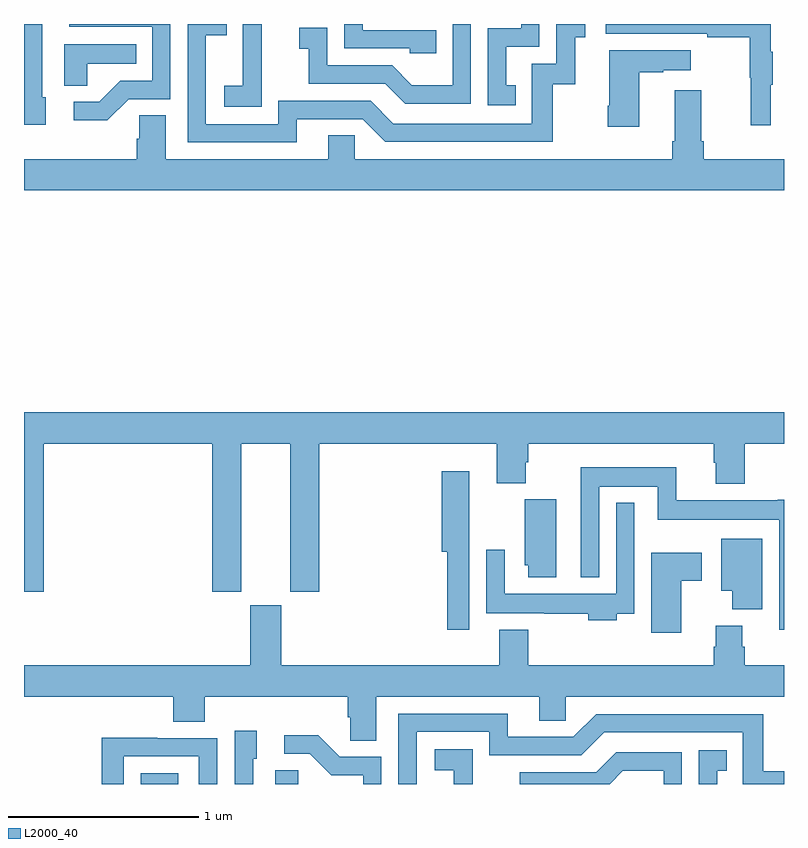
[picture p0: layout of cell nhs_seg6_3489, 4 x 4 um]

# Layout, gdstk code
import gdstk
lib = gdstk.Library(unit=1e-6, precision=1e-09)
def R(c, l, rs):  # rectangles x0, y0, x1, y1
    for r in rs: c.add(gdstk.rectangle(r[:2], r[2:], *l))
def P(c, l, *ps):  # polygons
    for p in ps: c.add(gdstk.Polygon(p, *l))
L2000_40 = (2000, 40)

nhs_seg6_3489 = lib.new_cell('nhs_seg6_3489')
R(nhs_seg6_3489, L2000_40, [(315.614,989.5,315.811,989.557), (316.322,989.5,316.443,989.573)])
P(nhs_seg6_3489, L2000_40, [(315.552,993.105),(315.771,993.105),(315.771,993.5),(315.237,993.5),(315.237,993.486),(315.675,993.486),(315.675,993.201),(315.506,993.201),(315.395,993.09),(315.261,993.09),(315.261,992.993),(315.439,992.993)],
  [(316.251,993.271),(316.25,993.271),(316.25,993.5),(316.152,993.5),(316.152,993.404),(316.151,993.404),(316.151,993.175),(316.053,993.175),(316.053,993.065),(316.251,993.065)],
  [(318.929,993.179),(318.94,993.179),(318.94,993.353),(318.929,993.353),(318.929,993.5),(318.063,993.5),(318.063,993.45),(318.595,993.45),(318.595,993.43),(318.819,993.43),(318.819,993.216),(318.826,993.216),(318.826,992.967),(318.929,992.967)],
  [(317.171,993.468),(316.782,993.468),(316.782,993.5),(316.686,993.5),(316.686,993.372),(317.031,993.372),(317.031,993.345),(317.171,993.345)],
  [(317.352,993.5),(317.256,993.5),(317.256,993.178),(317.042,993.178),(316.938,993.282),(316.596,993.282),(316.596,993.481),(316.449,993.481),(316.449,993.371),(316.498,993.371),(316.498,993.186),(316.901,993.186),(317.006,993.081),(317.352,993.081)],
  [(317.588,993.177),(317.539,993.177),(317.539,993.381),(317.712,993.381),(317.712,993.5),(317.616,993.5),(317.616,993.477),(317.442,993.477),(317.442,993.072),(317.588,993.072)],
  [(315.115,993.114),(315.096,993.114),(315.096,993.5),(315,993.5),(315,992.97),(315.115,992.97)],
  [(316.435,993),(316.782,993),(316.902,992.88),(317.782,992.88),(317.782,993.183),(317.9,993.183),(317.9,993.429),(317.953,993.429),(317.953,993.5),(317.802,993.5),(317.802,993.291),(317.673,993.291),(317.673,992.976),(316.944,992.976),(316.824,993.096),(316.338,993.096),(316.338,992.973),(315.957,992.973),(315.957,993.442),(316.067,993.442),(316.067,993.5),(315.861,993.5),(315.861,992.877),(316.435,992.877)],
  [(315.333,993.29),(315.59,993.29),(315.59,993.394),(315.212,993.394),(315.212,993.175),(315.333,993.175)],
  [(318.238,993.247),(318.365,993.247),(318.365,993.257),(318.508,993.257),(318.508,993.361),(318.08,993.361),(318.08,993.07),(318.073,993.07),(318.073,992.958),(318.238,992.958)],
  [(319,992.788),(318.578,992.788),(318.578,992.884),(318.565,992.884),(318.565,993.151),(318.425,993.151),(318.425,992.884),(318.413,992.884),(318.413,992.788),(316.74,992.788),(316.74,992.915),(316.601,992.915),(316.601,992.788),(315.745,992.788),(315.745,993.02),(315.606,993.02),(315.606,992.897),(315.593,992.897),(315.593,992.788),(315,992.788),(315,992.624),(319,992.624)],
  [(315.104,991.292),(315.992,991.292),(315.992,990.513),(316.144,990.513),(316.144,991.292),(316.4,991.292),(316.4,990.513),(316.553,990.513),(316.553,991.292),(317.489,991.292),(317.489,991.084),(317.641,991.084),(317.641,991.193),(317.654,991.193),(317.654,991.292),(318.629,991.292),(318.629,991.191),(318.641,991.191),(318.641,991.079),(318.794,991.079),(318.794,991.292),(319,991.292),(319,991.456),(315,991.456),(315,990.513),(315.104,990.513)],
  [(319,990.997),(318.968,990.997),(318.968,990.994),(318.434,990.994),(318.434,991.168),(317.93,991.168),(317.93,990.587),(318.027,990.587),(318.027,991.064),(318.336,991.064),(318.336,990.89),(318.975,990.89),(318.975,990.312),(319,990.312)],
  [(317.343,990.826),(317.344,990.826),(317.344,991.147),(317.198,991.147),(317.198,990.722),(317.227,990.722),(317.227,990.312),(317.343,990.312)],
  [(317.8,990.999),(317.636,990.999),(317.636,990.651),(317.654,990.651),(317.654,990.588),(317.8,990.588)],
  [(318.121,990.396),(318.213,990.396),(318.213,990.979),(318.117,990.979),(318.117,990.502),(317.529,990.502),(317.529,990.733),(317.433,990.733),(317.433,990.398),(317.737,990.398),(317.737,990.396),(317.969,990.396),(317.969,990.362),(318.121,990.362)],
  [(318.886,990.79),(318.671,990.79),(318.671,990.518),(318.728,990.518),(318.728,990.419),(318.886,990.419)],
  [(318.46,990.571),(318.568,990.571),(318.568,990.718),(318.302,990.718),(318.302,990.296),(318.46,990.296)],
  [(315,989.96),(315.785,989.96),(315.785,989.827),(315.95,989.827),(315.95,989.96),(316.703,989.96),(316.703,989.851),(316.716,989.851),(316.716,989.728),(316.855,989.728),(316.855,989.96),(317.711,989.96),(317.711,989.833),(317.85,989.833),(317.85,989.96),(319,989.96),(319,990.124),(318.794,990.124),(318.794,990.222),(318.781,990.222),(318.781,990.334),(318.641,990.334),(318.641,990.222),(318.629,990.222),(318.629,990.124),(317.654,990.124),(317.654,990.313),(317.501,990.313),(317.501,990.124),(316.354,990.124),(316.354,990.441),(316.19,990.441),(316.19,990.124),(315,990.124)],
  [(317.067,989.775),(317.448,989.775),(317.448,989.652),(317.934,989.652),(318.054,989.772),(318.783,989.772),(318.783,989.5),(319,989.5),(319,989.566),(318.892,989.566),(318.892,989.868),(318.012,989.868),(317.892,989.748),(317.545,989.748),(317.545,989.871),(316.971,989.871),(316.971,989.5),(317.067,989.5)],
  [(316.206,989.634),(316.225,989.634),(316.225,989.779),(316.11,989.779),(316.11,989.5),(316.206,989.5)],
  [(316.881,989.643),(316.662,989.643),(316.549,989.756),(316.371,989.756),(316.371,989.658),(316.505,989.658),(316.616,989.547),(316.785,989.547),(316.785,989.5),(316.881,989.5)],
  [(315.525,989.646),(315.921,989.646),(315.921,989.5),(316.017,989.5),(316.017,989.742),(315.701,989.742),(315.701,989.744),(315.409,989.744),(315.409,989.5),(315.525,989.5)],
  [(317.361,989.683),(317.163,989.683),(317.163,989.573),(317.261,989.573),(317.261,989.5),(317.361,989.5)],
  [(318.649,989.571),(318.698,989.571),(318.698,989.677),(318.552,989.677),(318.552,989.5),(318.649,989.5)],
  [(318.152,989.57),(318.366,989.57),(318.366,989.5),(318.462,989.5),(318.462,989.667),(318.116,989.667),(318.011,989.562),(317.608,989.562),(317.608,989.5),(318.082,989.5)])

lib.write_gds('nhs_seg6_3489.gds')
